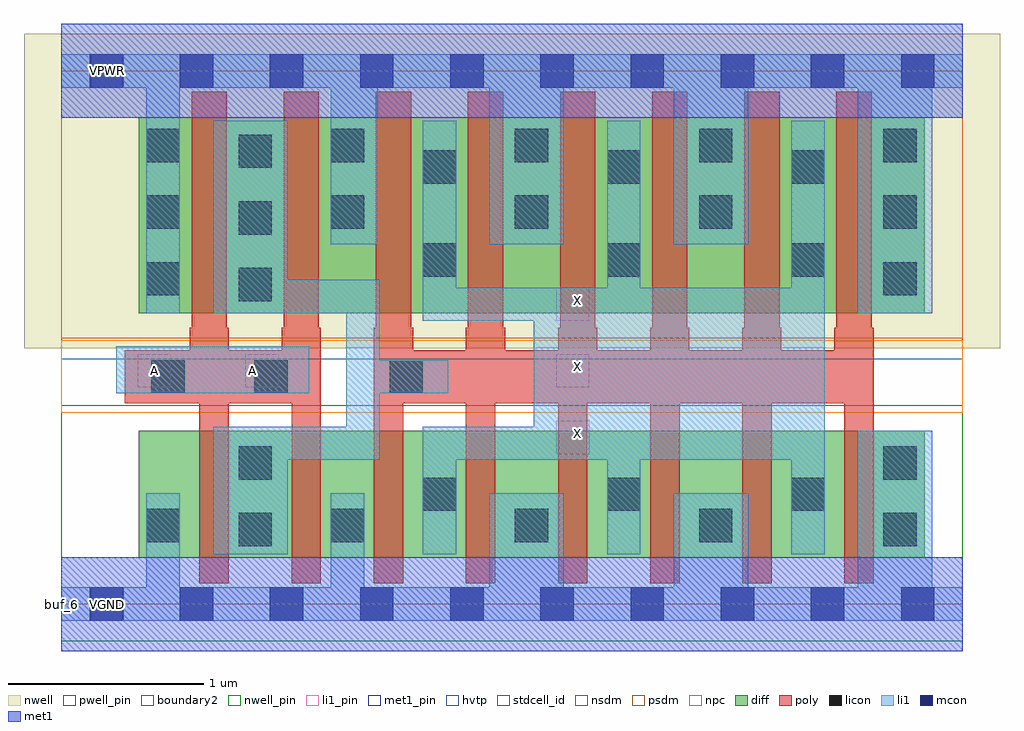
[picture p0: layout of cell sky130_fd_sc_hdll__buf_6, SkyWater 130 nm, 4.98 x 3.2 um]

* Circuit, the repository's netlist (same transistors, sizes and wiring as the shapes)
* Copyright 2020 The SkyWater PDK Authors
*
* Licensed under the Apache License, Version 2.0 (the "License");
* you may not use this file except in compliance with the License.
* You may obtain a copy of the License at
*
*     https://www.apache.org/licenses/LICENSE-2.0
*
* Unless required by applicable law or agreed to in writing, software
* distributed under the License is distributed on an "AS IS" BASIS,
* WITHOUT WARRANTIES OR CONDITIONS OF ANY KIND, either express or implied.
* See the License for the specific language governing permissions and
* limitations under the License.
*
* SPDX-License-Identifier: Apache-2.0

.SUBCKT sky130_fd_sc_hdll__buf_6 A VGND VNB VPB VPWR X
*.PININFO A:I VGND:I VNB:I VPB:I VPWR:I X:O
MMIN1 Ab A VGND VNB sky130_fd_pr__nfet_01v8 m=2 w=0.65U l=0.15U mult=1 sa=0.265
+ sb=0.265 sd=0.28 area=0.063 perim=1.14
MMIN2 X Ab VGND VNB sky130_fd_pr__nfet_01v8 m=6 w=0.65U l=0.15U mult=1 sa=0.265
+ sb=0.265 sd=0.28 area=0.063 perim=1.14
MMIP1 Ab A VPWR VPB sky130_fd_pr__pfet_01v8_hvt m=2 w=1.0U l=0.18U mult=1 sa=0.265
+ sb=0.265 sd=0.28 area=0.063 perim=1.14
MMIP2 X Ab VPWR VPB sky130_fd_pr__pfet_01v8_hvt m=6 w=1.0U l=0.18U mult=1 sa=0.265
+ sb=0.265 sd=0.28 area=0.063 perim=1.14
.ENDS sky130_fd_sc_hdll__buf_6

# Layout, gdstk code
import gdstk
lib = gdstk.Library(unit=1e-6, precision=1e-09)
def R(c, l, rs):  # rectangles x0, y0, x1, y1
    for r in rs: c.add(gdstk.rectangle(r[:2], r[2:], *l))
def A(c, l, x, y, w, h, nx, ny, dx, dy):  # array of equal rectangles
    R(c, l, [(x+i*dx, y+j*dy, x+i*dx+w, y+j*dy+h) for i in range(nx) for j in range(ny)])
def P(c, l, *ps):  # polygons
    for p in ps: c.add(gdstk.Polygon(p, *l))
nwell_pin = (64, 16)
nwell = (64, 20)
diff = (65, 20)
poly = (66, 20)
licon = (66, 44)
li1_pin = (67, 16)
li1 = (67, 20)
mcon = (67, 44)
met1_pin = (68, 16)
met1 = (68, 20)
hvtp = (78, 44)
stdcell_id = (81, 4)
nsdm = (93, 44)
psdm = (94, 20)
npc = (95, 20)
pwell_pin = (122, 16)
boundary2 = (236, 0)

sky130_fd_sc_hdll__buf_6 = lib.new_cell('sky130_fd_sc_hdll__buf_6')
R(sky130_fd_sc_hdll__buf_6, nwell_pin, [(0.15,2.635,0.32,2.805)])
R(sky130_fd_sc_hdll__buf_6, nwell, [(-0.19,1.305,4.79,2.91)])
R(sky130_fd_sc_hdll__buf_6, diff, [(0.395,0.235,4.405,0.885), (0.395,1.485,4.405,2.485)])
P(sky130_fd_sc_hdll__buf_6, poly, [(1.325,1.41),(1.315,1.41),(1.315,2.615),(1.135,2.615),(1.135,1.41),(1.125,1.41),(1.125,1.295),(0.855,1.295),(0.855,1.41),(0.845,1.41),(0.845,2.615),(0.665,2.615),(0.665,1.41),(0.655,1.41),(0.655,1.295),(0.325,1.295),(0.325,1.025),(0.705,1.025),(0.705,0.105),(0.855,0.105),(0.855,1.025),(1.175,1.025),(1.175,0.105),(1.325,0.105)],
  [(4.145,1.41),(4.135,1.41),(4.135,2.615),(3.955,2.615),(3.955,1.41),(3.945,1.41),(3.945,1.295),(3.675,1.295),(3.675,1.41),(3.665,1.41),(3.665,2.615),(3.485,2.615),(3.485,1.41),(3.475,1.41),(3.475,1.295),(3.205,1.295),(3.205,1.41),(3.195,1.41),(3.195,2.615),(3.015,2.615),(3.015,1.41),(3.005,1.41),(3.005,1.295),(2.735,1.295),(2.735,1.41),(2.725,1.41),(2.725,2.615),(2.545,2.615),(2.545,1.41),(2.535,1.41),(2.535,1.295),(2.265,1.295),(2.265,1.41),(2.255,1.41),(2.255,2.615),(2.075,2.615),(2.075,1.41),(2.065,1.41),(2.065,1.295),(1.795,1.295),(1.795,1.41),(1.785,1.41),(1.785,2.615),(1.605,2.615),(1.605,1.41),(1.595,1.41),(1.595,0.105),(1.745,0.105),(1.745,1.025),(2.065,1.025),(2.065,0.105),(2.215,0.105),(2.215,1.025),(2.535,1.025),(2.535,0.105),(2.685,0.105),(2.685,1.025),(3.005,1.025),(3.005,0.105),(3.155,0.105),(3.155,1.025),(3.475,1.025),(3.475,0.105),(3.625,0.105),(3.625,1.025),(3.995,1.025),(3.995,0.105),(4.145,0.105)])
A(sky130_fd_sc_hdll__buf_6, licon, 0.435, 0.315, 0.17, 0.17, 4, 1, 0.94, 0)
A(sky130_fd_sc_hdll__buf_6, licon, 1.845, 0.475, 0.17, 0.17, 3, 2, 0.94, 1.195)
A(sky130_fd_sc_hdll__buf_6, licon, 0.905, 1.545, 0.17, 0.17, 1, 3, 0, 0.34)
A(sky130_fd_sc_hdll__buf_6, licon, 0.435, 1.915, 0.17, 0.17, 5, 2, 0.94, 0.34)
A(sky130_fd_sc_hdll__buf_6, licon, 1.845, 2.145, 0.17, 0.17, 3, 1, 0.94, 0)
R(sky130_fd_sc_hdll__buf_6, licon, [(0.905,0.295,1.075,0.465), (4.195,0.295,4.365,0.465), (0.905,0.635,1.075,0.805), (4.195,0.635,4.365,0.805), (0.46,1.075,0.63,1.245), (0.985,1.075,1.155,1.245), (1.675,1.075,1.845,1.245), (0.435,1.575,0.605,1.745), (4.195,1.575,4.365,1.745)])
A(sky130_fd_sc_hdll__buf_6, li1_pin, 2.525, 0.765, 0.17, 0.17, 1, 3, 0, 0.34)
R(sky130_fd_sc_hdll__buf_6, li1_pin, [(0.15,-0.085,0.32,0.085), (0.39,1.105,0.56,1.275), (0.94,1.105,1.11,1.275), (0.15,2.635,0.32,2.805)])
R(sky130_fd_sc_hdll__buf_6, li1, [(0.28,1.075,1.265,1.315)])
P(sky130_fd_sc_hdll__buf_6, li1, [(1.975,1.245),(1.625,1.245),(1.625,1.655),(1.155,1.655),(1.155,2.465),(0.775,2.465),(0.775,1.485),(1.455,1.485),(1.455,0.905),(0.775,0.905),(0.775,0.255),(1.155,0.255),(1.155,0.735),(1.625,0.735),(1.625,1.075),(1.975,1.075)],
  [(3.895,2.465),(3.725,2.465),(3.725,1.615),(2.955,1.615),(2.955,2.465),(2.785,2.465),(2.785,1.615),(2.015,1.615),(2.015,2.465),(1.845,2.465),(1.845,1.445),(2.41,1.445),(2.41,0.905),(1.845,0.905),(1.845,0.255),(2.015,0.255),(2.015,0.735),(2.785,0.735),(2.785,0.255),(2.955,0.255),(2.955,0.735),(3.725,0.735),(3.725,0.255),(3.895,0.255)],
  [(4.6,0.085),(4.445,0.085),(4.445,0.885),(4.065,0.885),(4.065,0.085),(3.505,0.085),(3.505,0.565),(3.125,0.565),(3.125,0.085),(2.565,0.085),(2.565,0.565),(2.185,0.565),(2.185,0.085),(1.545,0.085),(1.545,0.565),(1.375,0.565),(1.375,0.085),(0.605,0.085),(0.605,0.565),(0.435,0.565),(0.435,0.085),(0,0.085),(0,-0.085),(4.6,-0.085)],
  [(4.6,2.805),(0,2.805),(0,2.635),(0.435,2.635),(0.435,1.485),(0.605,1.485),(0.605,2.635),(1.375,2.635),(1.375,1.835),(1.615,1.835),(1.615,2.635),(2.185,2.635),(2.185,1.835),(2.565,1.835),(2.565,2.635),(3.125,2.635),(3.125,1.835),(3.505,1.835),(3.505,2.635),(4.065,2.635),(4.065,1.485),(4.445,1.485),(4.445,2.635),(4.6,2.635)])
A(sky130_fd_sc_hdll__buf_6, mcon, 0.145, -0.085, 0.17, 0.17, 10, 2, 0.46, 2.72)
R(sky130_fd_sc_hdll__buf_6, met1_pin, [(0.15,-0.085,0.32,0.085), (0.15,2.635,0.32,2.805)])
R(sky130_fd_sc_hdll__buf_6, met1, [(0,-0.24,4.6,0.24), (0,2.48,4.6,2.96)])
R(sky130_fd_sc_hdll__buf_6, hvtp, [(0,1.25,4.6,2.72)])
R(sky130_fd_sc_hdll__buf_6, stdcell_id, [(0,0,4.6,2.72)])
R(sky130_fd_sc_hdll__buf_6, nsdm, [(0,-0.19,4.6,1.015)])
R(sky130_fd_sc_hdll__buf_6, psdm, [(0,1.355,4.6,2.91)])
R(sky130_fd_sc_hdll__buf_6, npc, [(0,0.975,4.6,1.345)])
R(sky130_fd_sc_hdll__buf_6, pwell_pin, [(0.15,-0.085,0.32,0.085)])
R(sky130_fd_sc_hdll__buf_6, boundary2, [(0,0,4.6,2.72)])
sky130_fd_sc_hdll__buf_6.add(gdstk.Label('VPWR', (0.235,2.72), layer=68, texttype=5))
sky130_fd_sc_hdll__buf_6.add(gdstk.Label('VGND', (0.235,0), layer=68, texttype=5))
sky130_fd_sc_hdll__buf_6.add(gdstk.Label('X', (2.635,1.21), layer=67, texttype=5))
sky130_fd_sc_hdll__buf_6.add(gdstk.Label('X', (2.635,1.55), layer=67, texttype=5))
sky130_fd_sc_hdll__buf_6.add(gdstk.Label('X', (2.635,0.87), layer=67, texttype=5))
sky130_fd_sc_hdll__buf_6.add(gdstk.Label('VPWR', (0.235,2.72), layer=67, texttype=5))
sky130_fd_sc_hdll__buf_6.add(gdstk.Label('VGND', (0.235,0), layer=67, texttype=5))
sky130_fd_sc_hdll__buf_6.add(gdstk.Label('A', (0.975,1.19), layer=67, texttype=5))
sky130_fd_sc_hdll__buf_6.add(gdstk.Label('A', (0.475,1.19), layer=67, texttype=5))
sky130_fd_sc_hdll__buf_6.add(gdstk.Label('VPB', (0.235,2.72), layer=64, texttype=5))
sky130_fd_sc_hdll__buf_6.add(gdstk.Label('VNB', (0.235,0), layer=64, texttype=59))
sky130_fd_sc_hdll__buf_6.add(gdstk.Label('buf_6', (0,0), layer=83, texttype=44))

lib.write_gds('sky130_fd_sc_hdll__buf_6.gds')
